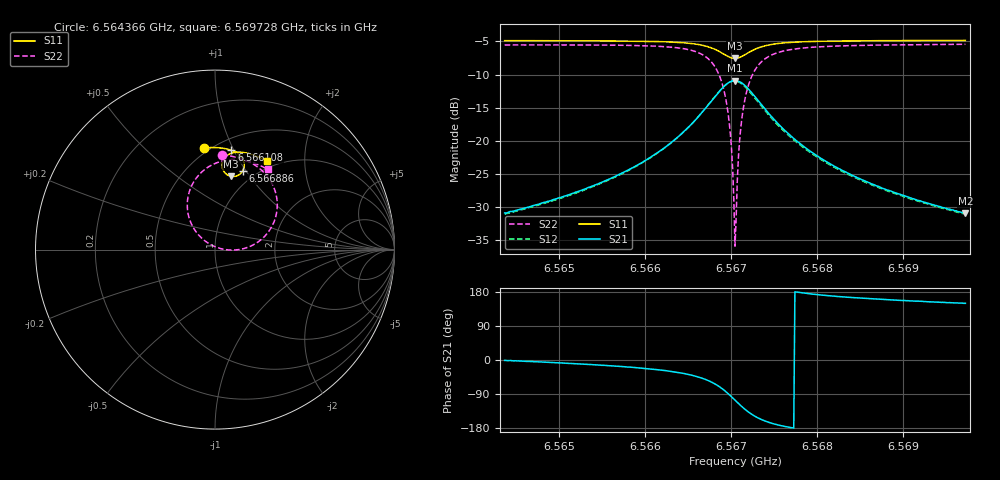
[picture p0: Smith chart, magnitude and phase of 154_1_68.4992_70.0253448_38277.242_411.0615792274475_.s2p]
#  HZ  S  RI  R  50.00
! Rohde & Schwarz Vector Network Analyzer
! Rohde-Schwarz,ZNB20-2Port,1311601062101988,3.16
! Created: UTC 3/20/2024, 4:55:24 PM
! freq[Hz]  re:S11  im:S11  re:S21  im:S21  re:S12  im:S12  re:S22  im:S22
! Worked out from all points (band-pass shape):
!   401 points, 6.564366 GHz to 6.569728 GHz, reference 50 ohm
!   highest |S21| = -10.92 dB at 6.567047 GHz (marker M1); lowest = -31.0 dB at 6.569728 GHz (marker M2)
!   |S21| within 3 dB of the highest: 6.566778 GHz to 6.567314 GHz (536.4 kHz wide, 0.00817 % of centre)
!   lowest |S11| = -7.6 dB at 6.567047 GHz (marker M3), VSWR 2.44, Z = 41.3 + j40.9 ohm
!   |S11| at or under -10 dB: nowhere
!   |S22| runs from -35.9 to -5.4 dB; largest |S21 - S12| = 0.014
!   S11 on the Smith chart (normalised r, x): 6.564366 GHz: 0.47, +0.78; 6.566108 GHz: 0.61, +0.98; 6.566886 GHz: 0.87, +0.96; 6.569728 GHz: 0.91, +1.32
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6.5643658e9  -0.0618 0.5659  0.0286 -0.000475  0.0279 -0.000961  0.0395 0.5267
6.5652639e9  0.0121 0.5679  0.0416 -0.00792  0.0408 -0.00851  0.1255 0.5128
6.5661083e9  0.0914 0.5536  0.0714 -0.0326  0.0702 -0.0336  0.2373 0.4604
6.566162e9  0.0972 0.5514  0.0744 -0.0363  0.0733 -0.0372  0.2469 0.4531
6.5666713e9  0.1566 0.5004  0.1097 -0.1244  0.1071 -0.1269  0.345 0.2812
6.566792e9  0.163 0.4687  0.102 -0.1799  0.0973 -0.1834  0.3361 0.1751
6.5668858e9  0.1535 0.4369  0.0683 -0.2346  0.0603 -0.2379  0.2756 0.0727
6.5669394e9  0.1381 0.4198  0.0307 -0.2626  0.0203 -0.2641  0.2057 0.0226
6.5669796e9  0.1213 0.4108  -0.00667 -0.2762  -0.0185 -0.2753  0.1371 0.000635
6.5670064e9  0.1082 0.4077  -0.0348 -0.2794  -0.0472 -0.2765  0.0864 -0.00258
6.5670332e9  0.0945 0.4076  -0.0638 -0.2771  -0.076 -0.2719  0.0352 0.00465
6.5670466e9  0.0878 0.4088  -0.078 -0.2737  -0.09 -0.2675  0.0103 0.0123
6.5670601e9  0.081 0.4106  -0.092 -0.2689  -0.1035 -0.2617  -0.0137 0.0224
6.5670735e9  0.0746 0.4132  -0.1051 -0.2628  -0.1162 -0.2547  -0.0362 0.035
6.5671003e9  0.0631 0.4205  -0.1293 -0.2471  -0.1386 -0.2374  -0.0762 0.0658
6.5671405e9  0.0501 0.435  -0.1573 -0.2176  -0.1639 -0.2063  -0.1204 0.1215
6.5671941e9  0.041 0.4569  -0.1787 -0.1739  -0.1816 -0.1623  -0.1502 0.2008
6.5672611e9  0.0409 0.4824  -0.1845 -0.124  -0.1841 -0.1138  -0.1513 0.2884
6.5675024e9  0.0782 0.531  -0.1417 -0.0281  -0.1385 -0.0237  -0.0533 0.4494
6.5679447e9  0.1412 0.5431  -0.0811 0.00865  -0.0791 0.00988  0.0839 0.5007
6.5688428e9  0.2253 0.523  -0.0392 0.0151  -0.0384 0.0153  0.2146 0.4828
6.5697275e9  0.2911 0.4914  -0.0244 0.0144  -0.0239 0.0146  0.2928 0.4472
